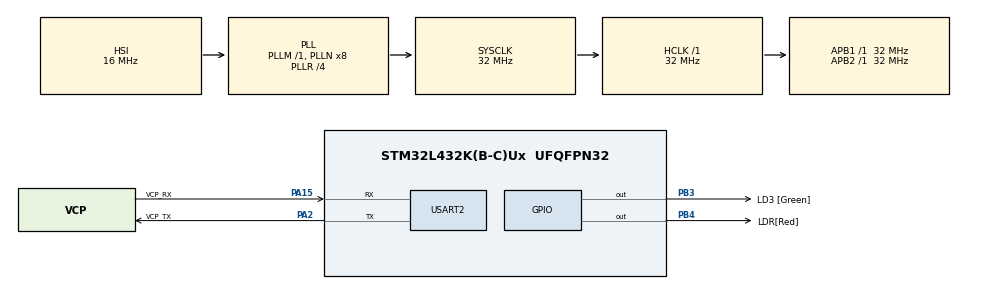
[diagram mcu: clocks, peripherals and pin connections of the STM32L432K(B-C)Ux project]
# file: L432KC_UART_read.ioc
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Mcu.Family=STM32L4
Mcu.Name=STM32L432K(B-C)Ux
Mcu.Package=UFQFPN32
NVIC.PriorityGroup=NVIC_PRIORITYGROUP_4
PA13\ (JTMS-SWDIO).GPIO_Label=SWDIO
PA13\ (JTMS-SWDIO).Mode=Serial_Wire
PA13\ (JTMS-SWDIO).Signal=SYS_JTMS-SWDIO
PA14\ (JTCK-SWCLK).GPIO_Label=SWCLK
PA14\ (JTCK-SWCLK).Mode=Serial_Wire
PA14\ (JTCK-SWCLK).Signal=SYS_JTCK-SWCLK
PA15\ (JTDI).GPIO_Label=VCP_RX
PA15\ (JTDI).Mode=Asynchronous
PA15\ (JTDI).Signal=USART2_RX
PA2.GPIO_Label=VCP_TX
PA2.Mode=Asynchronous
PA2.Signal=USART2_TX
PB3\ (JTDO-TRACESWO).GPIO_Label=LD3 [Green]
PB3\ (JTDO-TRACESWO).Signal=GPIO_Output
PB4\ (NJTRST).GPIO_Label=LDR[Red]
PB4\ (NJTRST).Signal=GPIO_Output
PC14-OSC32_IN\ (PC14).Mode=LSE-External-Oscillator
PC14-OSC32_IN\ (PC14).Signal=RCC_OSC32_IN
PC15-OSC32_OUT\ (PC15).Mode=LSE-External-Oscillator
PC15-OSC32_OUT\ (PC15).Signal=RCC_OSC32_OUT
ProjectManager.HeapSize=0x200
ProjectManager.StackSize=0x400
ProjectManager.TargetToolchain=STM32CubeIDE
RCC.ADCFreq_Value=64000000
RCC.AHBFreq_Value=32000000
RCC.APB1Freq_Value=32000000
RCC.APB1TimFreq_Value=32000000
RCC.APB2Freq_Value=32000000
RCC.APB2TimFreq_Value=32000000
RCC.CortexFreq_Value=32000000
RCC.HCLKFreq_Value=32000000
RCC.HSE_VALUE=8000000
RCC.HSI16_VALUE=16000000
RCC.HSI48_VALUE=48000000
RCC.HSI_VALUE=16000000
RCC.MSI_VALUE=4000000
RCC.PLLMUL=RCC_PLLMUL_4
RCC.PLLR=RCC_PLLR_DIV4
RCC.PLLSourceVirtual=RCC_PLLSOURCE_HSI
RCC.SYSCLKFreq_VALUE=32000000
RCC.SYSCLKSource=RCC_SYSCLKSOURCE_PLLCLK
RCC.USBFreq_Value=64000000
RCC.VCOOutputFreq_Value=128000000
USART2.SwapParam=ADVFEATURE_SWAP_ENABLE
USART2.VirtualMode-Asynchronous=VM_ASYNC
board=NUCLEO-L432KC

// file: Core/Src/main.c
/* USER CODE BEGIN Header */
/**
 ******************************************************************************
 * @file           : main.c
 * @brief          : Main program body
 ******************************************************************************
 * @attention
 *
 * Copyright (c) 2025 STMicroelectronics.
 * All rights reserved.
 *
 * This software is licensed under terms that can be found in the LICENSE file
 * in the root directory of this software component.
 * If no LICENSE file comes with this software, it is provided AS-IS.
 *
 ******************************************************************************
 */
/* USER CODE END Header */
#include "main.h"
#include "usart.h"
#include "gpio.h"

/* USER CODE BEGIN Includes */
#include "stdio.h"
#include "ctype.h"
#include "string.h"
#include "stdlib.h"

/* USER CODE END Includes */

void SystemClock_Config(void);

int main(void)
{

  /* MCU Configuration--------------------------------------------------------*/

  /* Reset of all peripherals, Initializes the Flash interface and the Systick. */
  HAL_Init();

  /* Configure the system clock */
  SystemClock_Config();

  /* Initialize all configured peripherals */
  MX_GPIO_Init();
  MX_USART2_UART_Init();
  /* USER CODE BEGIN 2 */
	int num;
	char msg[2];
	char answer[100];
	HAL_UART_Transmit(&huart2, (uint8_t*)"Hello World!\r\n", 14, HAL_MAX_DELAY);

  /* USER CODE END 2 */

  /* Infinite loop */
  /* USER CODE BEGIN WHILE */
	while (1)
	{
		char inputMsg[] = "Input any integer number between 0 to 99: ";
		HAL_UART_Transmit(&huart2, (uint8_t*)inputMsg, strlen(inputMsg), HAL_MAX_DELAY);

		HAL_UART_Receive(&huart2, (uint8_t*)msg, sizeof(msg), HAL_MAX_DELAY);
		msg[strlen(msg)] = '\0';

		// Convertir la chaîne reçue en entier
		num = atoi(msg);

		snprintf(answer, sizeof(answer), "\r\nnum = %d\r\n", num);
		HAL_UART_Transmit(&huart2, (uint8_t*)answer, strlen(answer), HAL_MAX_DELAY);

		snprintf(answer, sizeof(answer), "num^2 = %d\r\n", num * num);
		HAL_UART_Transmit(&huart2, (uint8_t*)answer, strlen(answer), HAL_MAX_DELAY);

		// Inverser l'état de la LED LD3
		HAL_GPIO_TogglePin(LD3_GPIO_Port, LD3_Pin);

    /* USER CODE END WHILE */

	}
}

void SystemClock_Config(void)
{
  RCC_OscInitTypeDef RCC_OscInitStruct = {0};
  RCC_ClkInitTypeDef RCC_ClkInitStruct = {0};

  /** Configure the main internal regulator output voltage
  */
  if (HAL_PWREx_ControlVoltageScaling(PWR_REGULATOR_VOLTAGE_SCALE1) != HAL_OK)
  {
    Error_Handler();
  }

  /** Initializes the RCC Oscillators according to the specified parameters
  * in the RCC_OscInitTypeDef structure.
  */
  RCC_OscInitStruct.OscillatorType = RCC_OSCILLATORTYPE_HSI;
  RCC_OscInitStruct.HSIState = RCC_HSI_ON;
  RCC_OscInitStruct.HSICalibrationValue = RCC_HSICALIBRATION_DEFAULT;
  RCC_OscInitStruct.PLL.PLLState = RCC_PLL_ON;
  RCC_OscInitStruct.PLL.PLLSource = RCC_PLLSOURCE_HSI;
  RCC_OscInitStruct.PLL.PLLM = 1;
  RCC_OscInitStruct.PLL.PLLN = 8;
  RCC_OscInitStruct.PLL.PLLP = RCC_PLLP_DIV7;
  RCC_OscInitStruct.PLL.PLLQ = RCC_PLLQ_DIV2;
  RCC_OscInitStruct.PLL.PLLR = RCC_PLLR_DIV4;
  if (HAL_RCC_OscConfig(&RCC_OscInitStruct) != HAL_OK)
  {
    Error_Handler();
  }

  /** Initializes the CPU, AHB and APB buses clocks
  */
  RCC_ClkInitStruct.ClockType = RCC_CLOCKTYPE_HCLK|RCC_CLOCKTYPE_SYSCLK
                              |RCC_CLOCKTYPE_PCLK1|RCC_CLOCKTYPE_PCLK2;
  RCC_ClkInitStruct.SYSCLKSource = RCC_SYSCLKSOURCE_PLLCLK;
  RCC_ClkInitStruct.AHBCLKDivider = RCC_SYSCLK_DIV1;
  RCC_ClkInitStruct.APB1CLKDivider = RCC_HCLK_DIV1;
  RCC_ClkInitStruct.APB2CLKDivider = RCC_HCLK_DIV1;

  if (HAL_RCC_ClockConfig(&RCC_ClkInitStruct, FLASH_LATENCY_1) != HAL_OK)
  {
    Error_Handler();
  }
}

void Error_Handler(void)
{
	__disable_irq();
	while (1)
	{
	}
}
